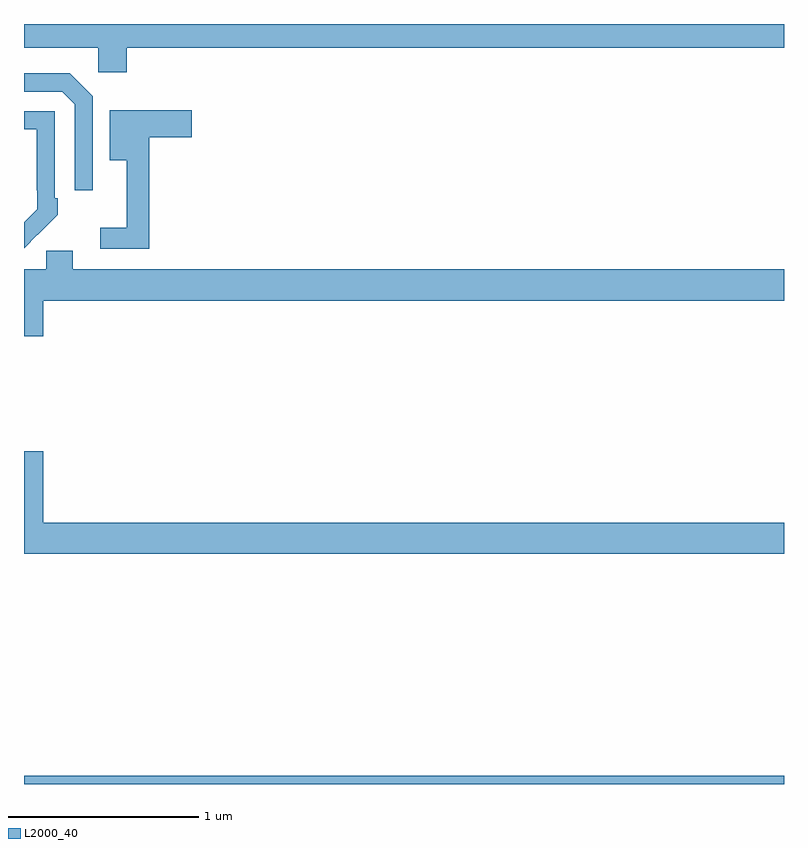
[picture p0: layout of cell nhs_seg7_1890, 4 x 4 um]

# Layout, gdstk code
import gdstk
lib = gdstk.Library(unit=1e-6, precision=1e-09)
def R(c, l, rs):  # rectangles x0, y0, x1, y1
    for r in rs: c.add(gdstk.rectangle(r[:2], r[2:], *l))
def P(c, l, *ps):  # polygons
    for p in ps: c.add(gdstk.Polygon(p, *l))
L2000_40 = (2000, 40)

nhs_seg7_1890 = lib.new_cell('nhs_seg7_1890')
R(nhs_seg7_1890, L2000_40, [(237,1070,241,1070.044)])
P(nhs_seg7_1890, L2000_40, [(237.542,1073.876),(241,1073.876),(241,1074),(237,1074),(237,1073.876),(237.39,1073.876),(237.39,1073.745),(237.542,1073.745)],
  [(237.363,1073.619),(237.242,1073.74),(237,1073.74),(237,1073.643),(237.201,1073.643),(237.267,1073.577),(237.267,1073.124),(237.363,1073.124)],
  [(237.659,1073.405),(237.883,1073.405),(237.883,1073.547),(237.452,1073.547),(237.452,1073.282),(237.542,1073.282),(237.542,1072.927),(237.402,1072.927),(237.402,1072.818),(237.659,1072.818)],
  [(237.071,1072.891),(237.072,1072.89),(237.177,1072.995),(237.177,1073.083),(237.162,1073.083),(237.162,1073.541),(237,1073.541),(237,1073.445),(237.066,1073.445),(237.066,1073.125),(237.069,1073.125),(237.069,1073.025),(237,1072.956),(237,1072.82)],
  [(237.1,1072.544),(241,1072.544),(241,1072.708),(237.256,1072.708),(237.256,1072.806),(237.117,1072.806),(237.117,1072.708),(237,1072.708),(237,1072.356),(237.1,1072.356)],
  [(241,1071.376),(237.1,1071.376),(237.1,1071.751),(237,1071.751),(237,1071.212),(241,1071.212)])

lib.write_gds('nhs_seg7_1890.gds')
